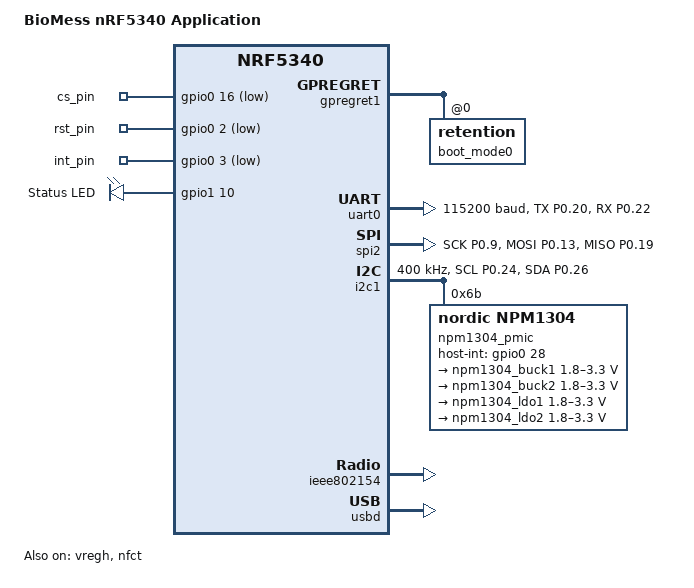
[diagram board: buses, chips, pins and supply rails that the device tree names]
/*
 * BioMess nRF5340 PCB application core devicetree.
 *
 * SPDX-License-Identifier: Apache-2.0
 */

/dts-v1/;
#include <nordic/nrf5340_cpuapp_qkaa.dtsi>
#include <zephyr/dt-bindings/regulator/npm13xx.h>

/ {
	model = "BioMess nRF5340 Application";
	compatible = "biomess,biomess-nrf5340-cpuapp";

	chosen {
		zephyr,console = &uart0;
		zephyr,shell-uart = &uart0;
		zephyr,uart-mcumgr = &uart0;
		zephyr,bt-mon-uart = &uart0;
		zephyr,bt-c2h-uart = &uart0;
		zephyr,bt-hci = &bt_hci_ipc0;
		nordic,802154-spinel-ipc = &ipc0;
		zephyr,ieee802154 = &ieee802154;
		zephyr,sram = &sram0_image;
		zephyr,flash = &flash0;
		zephyr,code-partition = &slot0_partition;
		zephyr,sram-secure-partition = &sram0_s;
		zephyr,sram-non-secure-partition = &sram0_ns;
		zephyr,boot-mode = &boot_mode0;
	};

	aliases {
		led0 = &status_led;
		watchdog0 = &wdt0;
	};

	ad5940_gpios {
		compatible = "gpio-leds";
		cs_pin: cs_pin {
			gpios = <&gpio0 16 GPIO_ACTIVE_LOW>;
		};
		rst_pin: rst_pin {
			gpios = <&gpio0 2 GPIO_ACTIVE_LOW>;
		};
		int_pin: int_pin {
			gpios = <&gpio0 3 (GPIO_PULL_UP | GPIO_ACTIVE_LOW)>;
		};
	};

	leds {
		compatible = "gpio-leds";
		status_led: status_led {
			gpios = <&gpio1 10 GPIO_ACTIVE_HIGH>;
			label = "Status LED";
		};
	};

};

&uicr {
	nfct-pins-as-gpios;
};

&gpregret1 {
	status = "okay";

	boot_mode0: boot_mode@0 {
		compatible = "zephyr,retention";
		status = "okay";
		reg = <0x0 0x1>;
	};
};

&vregmain {
	regulator-initial-mode = <NRF5X_REG_MODE_DCDC>;
};

&vregradio {
	regulator-initial-mode = <NRF5X_REG_MODE_DCDC>;
};

&vregh {
	status = "okay";
};

&lfxo {
	load-capacitors = "internal";
	load-capacitance-picofarad = <7>;
};

&gpiote {
	status = "okay";
};

&gpio0 {
	status = "okay";
};

&gpio1 {
	status = "okay";
};

&nfct {
	status = "okay";
};

&spi4 {
	status = "disabled";
};

&pinctrl {
	uart0_default: uart0_default {
		group1 {
			psels = <NRF_PSEL(UART_TX, 0, 20)>;
		};
		group2 {
			psels = <NRF_PSEL(UART_RX, 0, 22)>;
			bias-pull-up;
		};
	};

	uart0_sleep: uart0_sleep {
		group1 {
			psels = <NRF_PSEL(UART_TX, 0, 20)>,
				<NRF_PSEL(UART_RX, 0, 22)>;
			low-power-enable;
		};
	};

	spi2_default: spi2_default {
		group1 {
			psels = <NRF_PSEL(SPIM_SCK, 0, 9)>,
				<NRF_PSEL(SPIM_MOSI, 0, 13)>,
				<NRF_PSEL(SPIM_MISO, 0, 19)>;
		};
	};

	spi2_sleep: spi2_sleep {
		group1 {
			psels = <NRF_PSEL(SPIM_SCK, 0, 9)>,
				<NRF_PSEL(SPIM_MOSI, 0, 13)>,
				<NRF_PSEL(SPIM_MISO, 0, 19)>;
			low-power-enable;
		};
	};

	i2c1_default: i2c1_default {
		group1 {
			psels = <NRF_PSEL(TWIM_SCL, 0, 24)>,
				<NRF_PSEL(TWIM_SDA, 0, 26)>;
			bias-pull-up;
		};
	};

	i2c1_sleep: i2c1_sleep {
		group1 {
			psels = <NRF_PSEL(TWIM_SCL, 0, 24)>,
				<NRF_PSEL(TWIM_SDA, 0, 26)>;
			low-power-enable;
		};
	};
};

&uart0 {
	status = "okay";
	current-speed = <115200>;
	pinctrl-0 = <&uart0_default>;
	pinctrl-1 = <&uart0_sleep>;
	pinctrl-names = "default", "sleep";
};

&spi2 {
	compatible = "nordic,nrf-spim";
	status = "okay";
	pinctrl-0 = <&spi2_default>;
	pinctrl-1 = <&spi2_sleep>;
	pinctrl-names = "default", "sleep";
};

&i2c1 {
	compatible = "nordic,nrf-twim";
	status = "okay";
	pinctrl-0 = <&i2c1_default>;
	pinctrl-1 = <&i2c1_sleep>;
	pinctrl-names = "default", "sleep";
	clock-frequency = <I2C_BITRATE_FAST>;

	npm1304_pmic: pmic@6b {
		compatible = "nordic,npm1304";
		reg = <0x6b>;
		host-int-gpios = <&gpio0 28 0>;
		pmic-int-pin = <0>;
		ship-to-active-time-ms = <96>;
		long-press-reset = "one-button";

		npm1304_gpio: gpio-controller {
			compatible = "nordic,npm1304-gpio";
			gpio-controller;
			#gpio-cells = <2>;
			ngpios = <5>;
		};

		npm1304_regulators: regulators {
			compatible = "nordic,npm1304-regulator";

			npm1304_buck1: BUCK1 {
				/* Unpopulated BUCK1: SW1 open, VSET1 grounded. */
				status = "disabled";
				regulator-min-microvolt = <1800000>;
				regulator-max-microvolt = <3300000>;
			};

			npm1304_buck2: BUCK2 {
				regulator-min-microvolt = <1800000>;
				regulator-max-microvolt = <3300000>;
			};

			npm1304_ldo1: LDO1 {
				regulator-min-microvolt = <1800000>;
				regulator-max-microvolt = <3300000>;
			};

			npm1304_ldo2: LDO2 {
				regulator-min-microvolt = <1800000>;
				regulator-max-microvolt = <3300000>;
			};
		};

		npm1304_charger: charger {
			compatible = "nordic,npm1304-charger";
			term-microvolt = <4150000>;
			term-warm-microvolt = <4000000>;
			current-microamp = <100000>;
			vbus-limit-microamp = <500000>;
			thermistor-ohms = <10000>;
			thermistor-beta = <3380>;
			/* Charge enable withheld: R7 is fixed, cell has no verified NTC. */
		};
	};
};

&ieee802154 {
	status = "okay";
};

zephyr_udc0: &usbd {
	compatible = "nordic,nrf-usbd";
	status = "okay";
};

#include <nordic/nrf5340_cpuapp_partition.dtsi>
